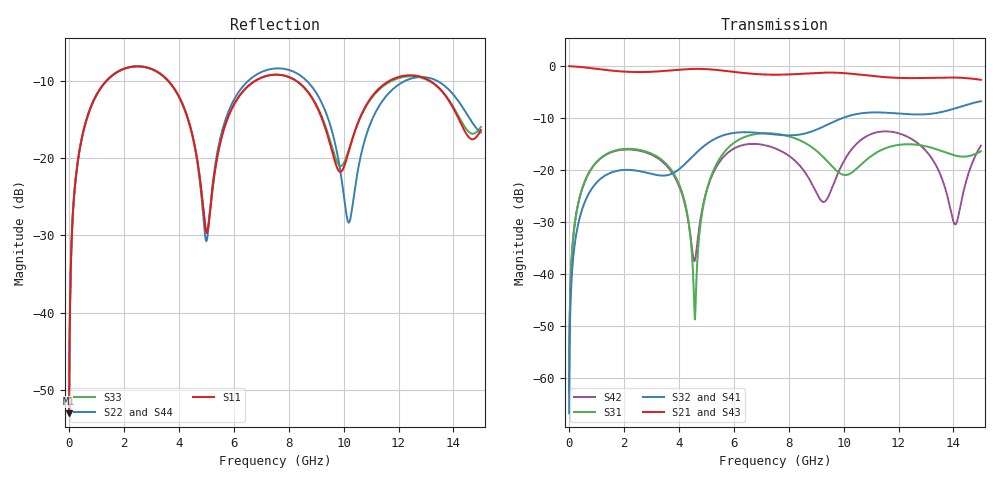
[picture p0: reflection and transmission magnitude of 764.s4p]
! Created with skrf 1.8.0 (http://scikit-rf.org).
# GHz S RI R 50.0
!freq ReS11 ImS11 ReS12 ImS12 ReS13 ImS13
! ReS14 ImS14
! ReS21 ImS21 ReS22 ImS22 ReS23 ImS23
! ReS24 ImS24
! ReS31 ImS31 ReS32 ImS32 ReS33 ImS33
! ReS34 ImS34
! ReS41 ImS41 ReS42 ImS42 ReS43 ImS43
! ReS44 ImS44
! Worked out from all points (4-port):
!   2499 points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, 5 MHz to 15 GHz, reference 50 ohm
!   strongest paths, dB at 5 MHz, 3.476 GHz, 7.19 GHz, 11.1 GHz, 15 GHz:
!     S21: 0.0, -0.9, -1.6, -1.9, -2.6
!     S43: 0.0, -0.9, -1.6, -1.9, -2.6
!     S32: -66.7, -21.0, -13.0, -8.9, -6.8
!     S41: -66.7, -21.1, -13.1, -8.9, -6.7
!     S31: -62.7, -18.5, -12.9, -16.9, -16.4
!     S42: -62.7, -18.7, -15.3, -12.9, -15.3
!   lowest |S11| = -53.0 dB at 5 MHz (marker M1), VSWR 1.00, Z = 50.2 + j0.136 ohm
!   |S11| at or under -10 dB: 3.605 GHz to 6.79 GHz (3.185 GHz wide, 61.3 % of centre); 8.261 GHz to 11.68 GHz (3.42 GHz wide, 34.3 % of centre); 13.14 GHz to end of sweep (the widest 3 of 4)
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0.005  0.00179 0.00136  0.9982 -0.00348  9.1e-05 0.000727  -8.82e-05 -0.000453
       0.9982 -0.00348  0.00179 0.00136  -8.82e-05 -0.000453  9.09e-05 0.000727
       9.1e-05 0.000727  -8.82e-05 -0.000453  0.00179 0.00136  0.9982 -0.00348
       -8.82e-05 -0.000453  9.09e-05 0.000727  0.9982 -0.00348  0.00179 0.00136
0.3126303  0.0278 0.0885  0.9618 -0.2158  0.0134 0.0426  -0.011 -0.0262
           0.9618 -0.2158  0.0279 0.0885  -0.011 -0.0262  0.013 0.0427
           0.0134 0.0426  -0.011 -0.0262  0.0278 0.0885  0.9618 -0.2158
           -0.011 -0.0262  0.013 0.0427  0.9618 -0.2158  0.0279 0.0885
1.419341  0.2689 0.1781  0.5503 -0.7282  0.1322 0.0604  -0.0915 -0.00651
          0.5503 -0.7282  0.2702 0.1772  -0.0917 -0.00625  0.1281 0.0658
          0.1322 0.0604  -0.0917 -0.00625  0.2687 0.1782  0.5503 -0.7282
          -0.0915 -0.00651  0.1281 0.0658  0.5503 -0.7282  0.2703 0.1771
4.589412  0.0586 -0.1015  -0.882 -0.3228  -0.00369 0.000535  -0.047 0.1349
          -0.882 -0.3228  0.0539 -0.1019  -0.0433 0.1362  -0.0137 -0.000111
          -0.00369 0.000535  -0.0433 0.1362  0.0595 -0.1013  -0.882 -0.3227
          -0.047 0.1349  -0.0137 -0.000111  -0.882 -0.3227  0.053 -0.1023
5.946228  0.1511 0.148  -0.7608 0.4479  0.1567 0.0841  0.1465 0.1719
          -0.7608 0.4479  0.1624 0.1579  0.1514 0.1689  0.1038 0.1191
          0.1567 0.0841  0.1514 0.1689  0.1508 0.1477  -0.7605 0.4482
          0.1465 0.1719  0.1038 0.1191  -0.7605 0.4482  0.1631 0.1592
10.12922  0.089 0.0488  0.8465 0.0916  -0.0655 0.0623  0.0365 -0.3262
          0.8465 0.0916  0.0369 -0.0173  0.0188 -0.3276  0.0845 0.1089
          -0.0655 0.0623  0.0188 -0.3276  0.0956 0.0436  0.8462 0.0924
          0.0365 -0.3262  0.0845 0.1089  0.8462 0.0924  0.0345 -0.02
15  0.1453 0.0427  -0.7067 -0.2156  -0.1004 0.1137  -0.1451 0.4371
    -0.7067 -0.2156  0.1398 -0.0427  -0.1121 0.4458  0.0197 0.1711
    -0.1004 0.1137  -0.1121 0.4458  0.1553 0.0339  -0.7067 -0.2149
    -0.1451 0.4371  0.0197 0.1711  -0.7067 -0.2149  0.1374 -0.0408
